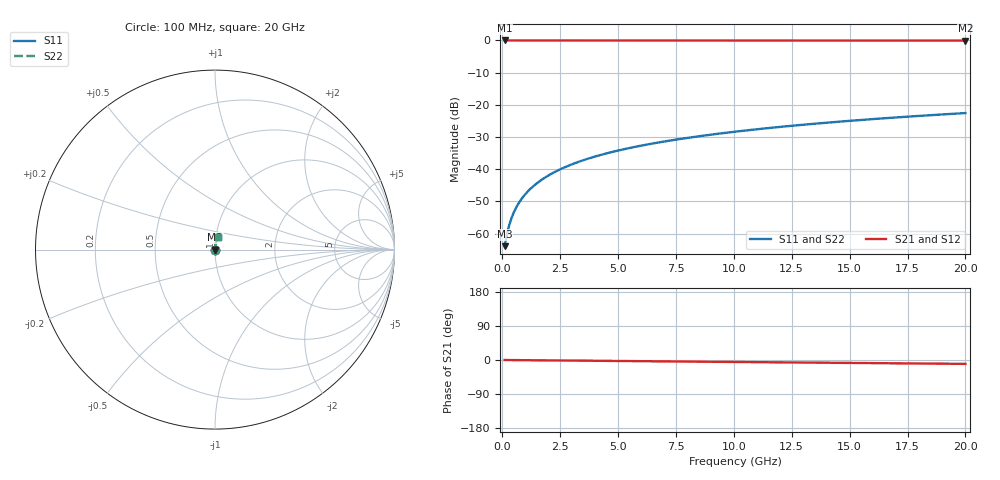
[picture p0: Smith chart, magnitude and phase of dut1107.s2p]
! Touchstone file exported from HFSS 2026.1.0
!  File:  C:/ffzhzh/LocalFiles/Ansys_Project_Files/temp_train_TSV_1107_1783190641_55132.aedt
!  Generated:  02:45:57 AM Jul  5, 2026
!  Design:  TSV
!  Project:  temp_train_TSV_1107_1783190641_55132
! Variables:
!  h_bsmrdl = 2um
!  h_ox = 20um
!  h_rdl = 5um
!  h_sub = 95.16um
!  h_tmrdl = 5um
!  h_tsv = 95.16um
!  h_via = 3um
!  l_bsmrdl = 300um
!  l_sub = 409.84um
!  l_tmrdl = 200um
!  m_sub = 200um
!  pitch = 38.76um
!  r_tsv = 4.92um
!  s_tmrdl = 10um
!  w_bsmrdl = 18um
!  w_sub = 500um
!  w_tmrdl = 12um
!  x_tsv_center1 = 206um
!  x_tsv_center2 = 524um
!  x_tsv_center3 = 736um
!  x_tsv_center4 = 1054um
!  x_tsv_center5 = 1266um
!  x_tsv_center6 = 1584um
# GHz S MA R 50.000000
! Terminal data exported
! Port[1] = TSV1_1_T1
! Port[2] = TSV1_1_T2
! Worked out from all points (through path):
!   200 points, 100 MHz to 20 GHz, reference 50 ohm
!   highest |S21| = 0.00 dB at 100 MHz (marker M1); lowest = 0.0 dB at 20 GHz (marker M2)
!   group delay of S21, straight-line fit = 1.42 ps
!   lowest |S11| = -63.9 dB at 100 MHz (marker M3), VSWR 1.00, Z = 50 + j0.0424 ohm
!   |S11| at or under -10 dB: start of sweep to end of sweep
!   |S22| runs from -63.9 to -22.5 dB; largest |S21 - S12| = 5.8e-15
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0.1  0.0006398 41.4  0.9995 -0.1  0.9995 -0.1  0.0006398 41.4
! Gamma 0 0 0 0
! Port Impedance 50 0 50 0
0.2  0.0009765 59.8  0.9995 -0.1  0.9995 -0.1  0.0009765 59.8
0.3  0.001359 68.0  0.9995 -0.2  0.9995 -0.2  0.001359 68.0
0.4  0.001754 72.4  0.9995 -0.2  0.9995 -0.2  0.001754 72.4
0.5  0.002151 75.1  0.9995 -0.3  0.9995 -0.3  0.002151 75.1
0.6  0.002548 76.9  0.9994 -0.3  0.9994 -0.3  0.002548 76.9
0.8  0.003338 79.2  0.9994 -0.4  0.9994 -0.4  0.003338 79.2
1.1  0.004518 81.2  0.9993 -0.6  0.9993 -0.6  0.004518 81.2
1.5  0.006086 82.5  0.9993 -0.8  0.9993 -0.8  0.006086 82.5
1.8  0.007259 83.1  0.9992 -1.0  0.9992 -1.0  0.007259 83.1
2.1  0.008429 83.4  0.9992 -1.1  0.9992 -1.1  0.008429 83.4
2.7  0.01076 83.8  0.999 -1.4  0.999 -1.4  0.01076 83.8
3.5  0.01383 83.9  0.9989 -1.8  0.9989 -1.8  0.01383 83.9
4.2  0.0165 83.8  0.9987 -2.2  0.9987 -2.2  0.0165 83.8
5  0.01952 83.7  0.9985 -2.6  0.9985 -2.6  0.01952 83.7
5.9  0.0229 83.4  0.9983 -3.1  0.9983 -3.1  0.0229 83.4
6.8  0.02626 83.2  0.9982 -3.5  0.9982 -3.5  0.02626 83.2
8.3  0.03183 82.7  0.9978 -4.3  0.9978 -4.3  0.03183 82.7
10.1  0.03849 82.1  0.9974 -5.2  0.9974 -5.2  0.03849 82.1
13.4  0.05063 80.7  0.9966 -6.9  0.9966 -6.9  0.05063 80.7
16.7  0.06267 79.3  0.9957 -8.6  0.9957 -8.6  0.06267 79.3
20  0.07458 77.8  0.9947 -10.3  0.9947 -10.3  0.07458 77.8
